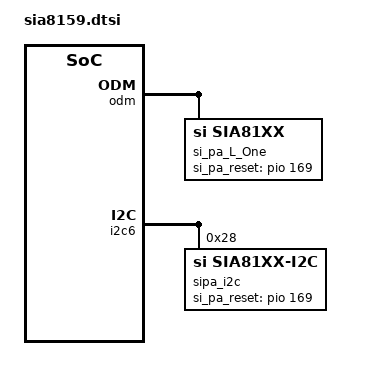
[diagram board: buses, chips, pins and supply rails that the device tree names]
/* Copyright (c) 2018, The Linux Foundation. All rights reserved.
 *
 * This program is free software; you can redistribute it and/or modify
 * it under the terms of the GNU General Public License version 2 and
 * only version 2 as published by the Free Software Foundation.
 *
 * This program is distributed in the hope that it will be useful,
 * but WITHOUT ANY WARRANTY; without even the implied warranty of
 * MERCHANTABILITY or FITNESS FOR A PARTICULAR PURPOSE.  See the
 * GNU General Public License for more details.
 */


&pio {
	sia81xx_gpio_L_ONE: sia81xx_gpio_L_ONE {
		pins_cmd_dat {
			pinmux = <PINMUX_GPIO169__FUNC_GPIO169>;	
			slew-rate = <1>;
			bias-disable;
		};
	};

};

&odm {
	si_pa_L_One: si_pa@L_One{
		compatible = "si,sia81xx";
		si,si_pa_type = "sia81x9";
		si,si_pa_reset = <&pio 169 0>;
		si,si_pa_disable_pin = <1>;
		
		/* the same value share a same task
		 * valid value range : 0 ~ 7 */	
		channel_num = <0>;
 		timer_task_hdl = <0>;
 		owi_mode = <6>;
 		en_x_filter = <0>;
 		en_dynamic_updata_vdd = <0>;
 		dynamic_updata_vdd_port = <0x8>;	

	};

};

&sound {
	si,sia81xx-max-num = <1>;
	si,sia81xx-aux-devs = <&si_pa_L_One>;
	si,sia81xx-aux-devs-prefix = "SpkrLeft_One";
};

&i2c6 {
 	#address-cells = <1>;
 	#size-cells = <0>;
	sipa_i2c: sipa_i2c@28 {
                compatible = "si,sia81xx-i2c";
                reg = <0x28>;
                si,si_pa_reset = <&pio 169 0>;
                si,sipa-dev = <&si_pa_L_One>;
                status = "okay";
        };


};





